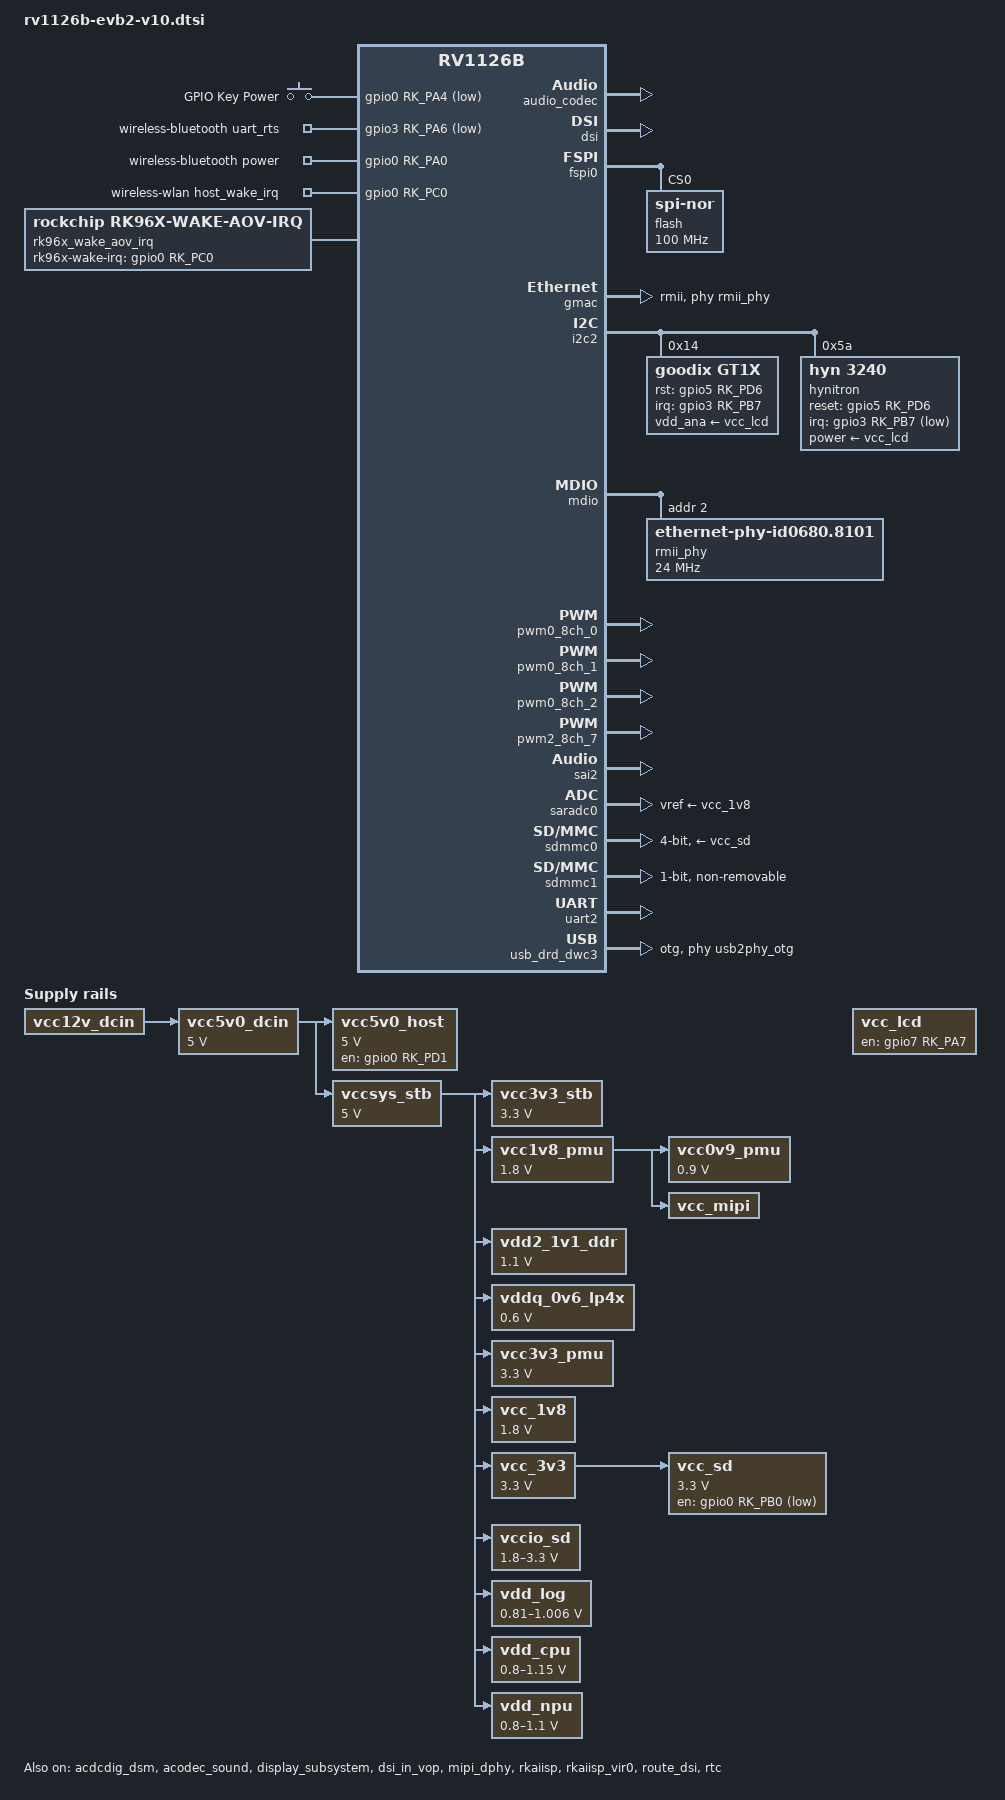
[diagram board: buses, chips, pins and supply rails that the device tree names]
// SPDX-License-Identifier: (GPL-2.0+ OR MIT)
/*
 * Copyright (c) 2025 Rockchip Electronics Co., Ltd.
 */

/ {
	gpio-keys {
		compatible = "gpio-keys";
		autorepeat;
		pinctrl-names = "default";
		pinctrl-0 = <&pwr_key>;
		power-key {
			gpios = <&gpio0 RK_PA4 GPIO_ACTIVE_LOW>;
			linux,code = <KEY_POWER>;
			label ="GPIO Key Power";
			debounce-interval = <100>;
			wakeup-source;
			/* gpio-key,wakeup; */
		};
	};

	vcc5v0_dcin: vcc5v0-dcin {
		compatible = "regulator-fixed";
		regulator-name = "vcc5v0_dcin";
		regulator-always-on;
		regulator-boot-on;
		regulator-min-microvolt = <5000000>;
		regulator-max-microvolt = <5000000>;
		vin-supply = <&vcc12v_dcin>;
	};

	vcc5v0_host: vcc5v0-host {
		compatible = "regulator-fixed";
		regulator-name = "vcc5v0_host";
		regulator-boot-on;
		regulator-always-on;
		regulator-min-microvolt = <5000000>;
		regulator-max-microvolt = <5000000>;
		enable-active-high;
		gpio = <&gpio0 RK_PD1 GPIO_ACTIVE_HIGH>;
		vin-supply = <&vcc5v0_dcin>;
		pinctrl-names = "default";
		pinctrl-0 = <&vcc5v0_host_en>;
	};

	vccsys_stb: vccsys-stb {
		compatible = "regulator-fixed";
		regulator-name = "vccsys_stb";
		regulator-always-on;
		regulator-boot-on;
		regulator-min-microvolt = <5000000>;
		regulator-max-microvolt = <5000000>;
		vin-supply = <&vcc5v0_dcin>;
	};

	vcc3v3_stb: vcc3v3-stb {
		compatible = "regulator-fixed";
		regulator-name = "vcc3v3_stb";
		regulator-always-on;
		regulator-boot-on;
		regulator-min-microvolt = <3300000>;
		regulator-max-microvolt = <3300000>;
		vin-supply = <&vccsys_stb>;
	};

	vcc1v8_pmu: vdd1_1v8_ddr: vcc1v8_pmu {
		compatible = "regulator-fixed";
		regulator-name = "vcc3v3_stb";
		regulator-always-on;
		regulator-boot-on;
		regulator-min-microvolt = <1800000>;
		regulator-max-microvolt = <1800000>;
		vin-supply = <&vccsys_stb>;
	};

	vdd2_1v1_ddr: vdd2_1v1_ddr {
		compatible = "regulator-fixed";
		regulator-name = "vdd2_1v1_ddr";
		regulator-always-on;
		regulator-boot-on;
		regulator-min-microvolt = <1100000>;
		regulator-max-microvolt = <1100000>;
		vin-supply = <&vccsys_stb>;
	};

	vddq_0v6_lp4x: vddq-0v6-lp4x {
		compatible = "regulator-fixed";
		regulator-name = "vddq_0v6_lp4x";
		regulator-always-on;
		regulator-boot-on;
		regulator-min-microvolt = <600000>;
		regulator-max-microvolt = <600000>;
		vin-supply = <&vccsys_stb>;
	};

	vcc3v3_pmu: vcc3v3-pmu {
		compatible = "regulator-fixed";
		regulator-name = "vcc3v3_pmu";
		regulator-always-on;
		regulator-boot-on;
		regulator-min-microvolt = <3300000>;
		regulator-max-microvolt = <3300000>;
		vin-supply = <&vccsys_stb>;
	};

	vcc0v9_pmu: vcc0v9-pmu {
		compatible = "regulator-fixed";
		regulator-name = "vcc0v9_pmu";
		regulator-always-on;
		regulator-boot-on;
		regulator-min-microvolt = <900000>;
		regulator-max-microvolt = <900000>;
		vin-supply = <&vcc1v8_pmu>;
	};

	vcc_mipi: vcc-mipi{
		compatible = "regulator-fixed";
		regulator-name = "vcc_mipi";
		regulator-always-on;
		regulator-boot-on;
		vin-supply = <&vcc1v8_pmu>;
	};

	vcc_1v8: vcc-1v8 {
		compatible = "regulator-fixed";
		regulator-name = "vcc_1v8";
		regulator-always-on;
		regulator-boot-on;
		regulator-min-microvolt = <1800000>;
		regulator-max-microvolt = <1800000>;
		vin-supply = <&vccsys_stb>;
	};

	vcc_3v3: vcc3v3_dev: vcc-3v3 {
		compatible = "regulator-fixed";
		regulator-name = "vcc_3v3";
		regulator-always-on;
		regulator-boot-on;
		regulator-min-microvolt = <3300000>;
		regulator-max-microvolt = <3300000>;
		vin-supply = <&vccsys_stb>;
	};

	vcc_lcd: vcc-lcd {
		compatible = "regulator-fixed";
		gpio = <&gpio7 RK_PA7 GPIO_ACTIVE_HIGH>;
		regulator-name = "vcc_lcd";
		enable-active-high;
	};

	vcc_sd: vcc-sd {
		compatible = "regulator-fixed";
		gpio = <&gpio0 RK_PB0 GPIO_ACTIVE_LOW>;
		regulator-name = "vcc_sd";
		regulator-min-microvolt = <3300000>;
		regulator-max-microvolt = <3300000>;
		enable-active-low;
		vin-supply = <&vcc_3v3>;
	};

	vccio_sd: vccio-sd {
		compatible = "regulator-gpio";
		regulator-boot-on;
		regulator-name = "vccio_sd";
		regulator-min-microvolt = <1800000>;
		regulator-max-microvolt = <3300000>;
		pinctrl-names = "default";
		pinctrl-0 = <&sdmmc_volt>;
		gpios = <&gpio0 RK_PA6 GPIO_ACTIVE_HIGH>;
		vin-supply = <&vccsys_stb>;
		states = <1800000 0x0
			  3300000 0x1>;
	};

	vdd_log: vdd-log {
		compatible = "pwm-regulator";
		pwms = <&pwm0_8ch_2 0 25000 1>;
		regulator-name = "vdd_log";
		regulator-init-microvolt = <905000>;
		regulator-min-microvolt = <810000>;
		regulator-max-microvolt = <1006000>;
		regulator-settling-time-up-us = <250>;
		regulator-always-on;
		regulator-boot-on;
		pwm-supply = <&vccsys_stb>;
		status = "okay";
	};

	vdd_cpu: vdd-cpu {
		compatible = "pwm-regulator";
		pwms = <&pwm0_8ch_0 0 25000 1>;
		regulator-name = "vdd_cpu";
		regulator-init-microvolt = <950000>;
		regulator-min-microvolt = <800000>;
		regulator-max-microvolt = <1150000>;
		regulator-settling-time-up-us = <250>;
		regulator-always-on;
		regulator-boot-on;
		pwm-supply = <&vccsys_stb>;
		status = "okay";
	};

	vdd_npu: vdd-npu {
		compatible = "pwm-regulator";
		pwms = <&pwm0_8ch_1 0 25000 1>;
		regulator-name = "vdd_npu";
		regulator-init-microvolt = <950000>;
		regulator-min-microvolt = <800000>;
		regulator-max-microvolt = <1100000>;
		regulator-settling-time-up-us = <250>;
		regulator-always-on;
		regulator-boot-on;
		pwm-supply = <&vccsys_stb>;
		status = "okay";
	};

	wireless-bluetooth {
		compatible = "bluetooth-platdata";
		uart_rts_gpios = <&gpio3 RK_PA6 GPIO_ACTIVE_LOW>;
		pinctrl-names = "default", "rts_gpio";
		pinctrl-0 = <&uart2m0_rtsn_pins>;
		pinctrl-1 = <&uart2_gpios>;
		BT,power_gpio = <&gpio0 RK_PA0 GPIO_ACTIVE_HIGH>;
		status = "okay";
	};

	wireless-wlan {
		compatible = "wlan-platdata";
		rockchip,grf = <&grf>;
		pinctrl-names = "default";
		pinctrl-0 = <&wifi_wake_host>;
		wifi_chip_type = "rk96x";
		WIFI,host_wake_irq = <&gpio0 RK_PC0 GPIO_ACTIVE_HIGH>;
		status = "okay";
	};

	rk96x_wake_aov_irq: rk96x-wake-aov-irq {
		compatible = "rockchip,rk96x-wake-aov-irq";
		rk96x-wake-irq-gpios = <&gpio0 RK_PC0 GPIO_ACTIVE_HIGH>;
		wakeup-source;
		status = "okay";
	};
};

&acdcdig_dsm {
	pinctrl-names = "default";
	pinctrl-0 = <&dsm_aud_rn_pins
		     &dsm_aud_rp_pins>;
	pa-ctl-gpios = <&gpio0 RK_PC1 GPIO_ACTIVE_HIGH>;
	status = "okay";
};

&acodec_sound {
	status = "okay";
};

&audio_codec_pmu {
	status = "okay";
};

&audio_codec {
	status = "okay";
};

&backlight {
	pwms = <&pwm2_8ch_7 0 25000 0>;
};

&cpu0 {
	cpu-supply = <&vdd_cpu>;
};

&display_subsystem {
	status = "okay";
};

&dsi {
	status = "okay";
};

&dsi_in_vop {
	status = "okay";
};

&dsi_panel {
	power-supply = <&vcc_lcd>;
};

&fspi0 {
	status = "okay";

	flash@0 {
		compatible = "jedec,spi-nor";
		reg = <0>;
		spi-max-frequency = <100000000>;
		spi-rx-bus-width = <4>;
		spi-tx-bus-width = <1>;
	};
};

&gmac {
	phy-mode = "rmii";
	clock_in_out = "input";
	phy-handle = <&rmii_phy>;
	status = "okay";
};

&i2c2 {
	pinctrl-0 = <&i2c2m1_pins>;
	status = "okay";

	gt1x: gt1x@14 {
		compatible = "goodix,gt1x";
		reg = <0x14>;
		pinctrl-names = "default";
		pinctrl-0 = <&touch_gpio>;
		vdd_ana-supply = <&vcc_lcd>;
		goodix,rst-gpio = <&gpio5 RK_PD6 GPIO_ACTIVE_HIGH>;
		goodix,irq-gpio = <&gpio3 RK_PB7 IRQ_TYPE_LEVEL_LOW>;
	};

	hynitron: hynitron@5a {
		compatible = "hyn,3240";
		reg = <0x5a>;
		power-supply = <&vcc_lcd>;

		pinctrl-names = "ts_active","ts_suspend";
		pinctrl-0 = <&ts_int_active &ts_reset_active>;
		pinctrl-1 = <&ts_int_suspend &ts_reset_suspend>;

		reset-gpios = <&gpio5 RK_PD6 GPIO_ACTIVE_HIGH>;
		irq-gpios = <&gpio3 RK_PB7 GPIO_ACTIVE_LOW>;

		max-touch-number = <5>;
		display-coords = <0 0 1080 1920>;
		pos-swap = <0>;
		posx-reverse = <0>;
		posy-reverse = <0>;
	};
};

&mdio {
	rmii_phy: ethernet-phy@2 {
		compatible = "ethernet-phy-id0680.8101", "ethernet-phy-ieee802.3-c22";
		reg = <2>;
		clocks = <&cru CLK_MACPHY>;
		clock-frequency = <24000000>;
		resets = <&cru SRST_RESETN_MACPHY>;
		pinctrl-names = "default";
		pinctrl-0 = <&fephym2_pins>;
		phy-is-integrated;
	};
};

&mipi_dphy {
	status = "okay";
};

&pinctrl {
	buttons {
		pwr_key: pwr-key {
			rockchip,pins = <0 RK_PA4 RK_FUNC_GPIO &pcfg_pull_up>;
		};
	};

	sdmmc {
		/omit-if-no-ref/
		sdmmc_volt: sdmmc-volt {
			rockchip,pins = <0 RK_PA6 RK_FUNC_GPIO &pcfg_pull_none>;
		};
	};

	touch {
		touch_gpio: touch-gpio {
			rockchip,pins =
				<3 RK_PB7 RK_FUNC_GPIO &pcfg_pull_up>,
				<5 RK_PD6 RK_FUNC_GPIO &pcfg_pull_none>;
		};

		ts_int_active: ts_int_active {
			rockchip,pins = <3 RK_PB7 RK_FUNC_GPIO &pcfg_pull_up>;
		};

		ts_reset_active: ts_reset_active {
			rockchip,pins = <5 RK_PD6 RK_FUNC_GPIO &pcfg_pull_up>;
		};

		ts_int_suspend: ts_int_suspend {
			rockchip,pins = <3 RK_PB7 RK_FUNC_GPIO &pcfg_pull_down>;
		};

		ts_reset_suspend: ts_reset_suspend {
			rockchip,pins = <5 RK_PD6 RK_FUNC_GPIO &pcfg_pull_down>;
		};
	};

	usb {
		vcc5v0_host_en: vcc5v0-host-en {
			rockchip,pins = <0 RK_PD1 RK_FUNC_GPIO &pcfg_pull_none>;
		};
	};

	wireless-bluetooth {
		uart2_gpios: uart2-gpios {
			rockchip,pins = <3 RK_PA6 RK_FUNC_GPIO &pcfg_pull_none>;
		};
	};

	wireless-wlan {
		wifi_wake_host: wifi-wake-host {
			rockchip,pins = <0 RK_PB1 RK_FUNC_GPIO &pcfg_pull_up>;
		};
	};
};

&pwm0_8ch_0 {
	status = "okay";
};

&pwm0_8ch_1 {
	status = "okay";
};

&pwm0_8ch_2 {
	status = "okay";
};

&pwm2_8ch_7 {
	status = "okay";
};

&rkaiisp {
	status = "okay";
};

&rkaiisp_mmu {
	status = "okay";
};

&rkaiisp_vir0 {
	status = "okay";
};

&rknpu {
	rknpu-supply = <&vdd_npu>;
};

&route_dsi {
	status = "okay";
};

&rtc {
	rockchip,rtc-suspend-bypass;
	status = "okay";
};

&sai2 {
	status = "okay";
	/delete-property/ pinctrl-names;
	/delete-property/ pinctrl-0;
};

&saradc0 {
	vref-supply = <&vcc_1v8>;
};

&sdmmc0 {
	max-frequency = <200000000>;
	no-sdio;
	no-mmc;
	bus-width = <4>;
	cap-mmc-highspeed;
	cap-sd-highspeed;
	disable-wp;
	sd-uhs-sdr104;
	vmmc-supply = <&vcc_sd>;
	vqmmc-supply = <&vccio_sd>;
	status = "okay";
};

&sdmmc1 {
	bus-width = <1>;
	cap-sd-highspeed;
	no-sd;
	no-mmc;
	max-frequency = <200000000>;
	pinctrl-names = "default";
	pinctrl-0 = <&sdmmc1_clk_pins &sdmmc1_cmd_pins &sdmmc1_bus4_pins>;
	keep-power-in-suspend;
	non-removable;
	//mmc-pwrseq = <&sdio_pwrseq>;
	//sd-uhs-sdr104;
	status = "okay";
};

&uart2 {
	status = "okay";
	pinctrl-names = "default";
	pinctrl-0 = <&uart2m0_xfer_pins &uart2m0_ctsn_pins>;
};

&usb2phy_host {
	phy-supply = <&vcc5v0_host>;
};

&usb3phy {
	status = "disabled";
};

&usb_drd_dwc3 {
	dr_mode = "otg";
	extcon = <&usb2phy>;
	maximum-speed = "high-speed";
	phys = <&usb2phy_otg>;
	phy-names = "usb2-phy";
	snps,dis_u2_susphy_quirk;
	snps,usb2-lpm-disable;
};
